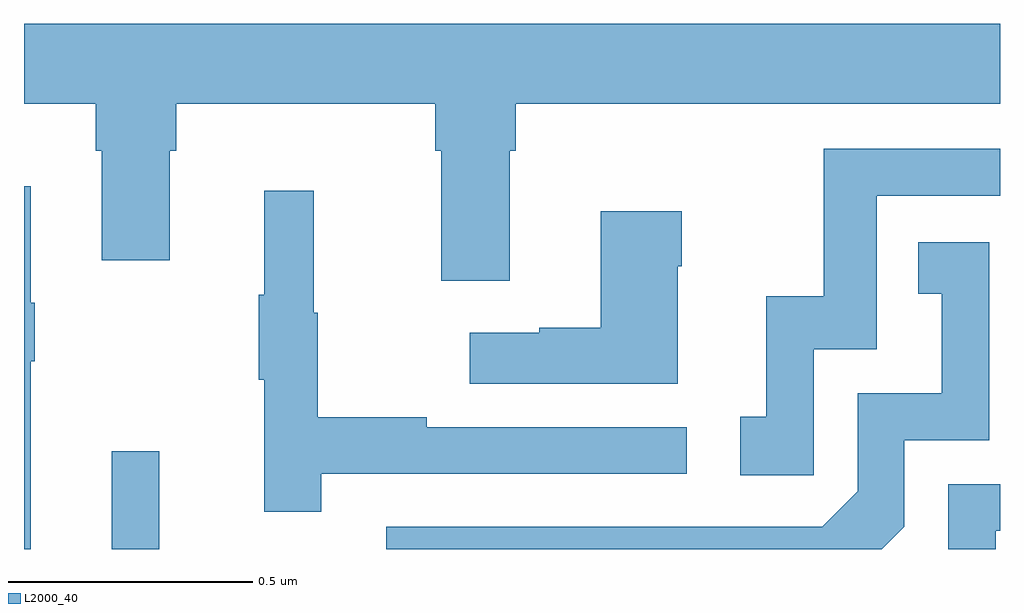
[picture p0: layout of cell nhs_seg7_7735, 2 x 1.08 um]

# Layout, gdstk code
import gdstk
lib = gdstk.Library(unit=1e-6, precision=1e-09)
def R(c, l, rs):  # rectangles x0, y0, x1, y1
    for r in rs: c.add(gdstk.rectangle(r[:2], r[2:], *l))
def P(c, l, *ps):  # polygons
    for p in ps: c.add(gdstk.Polygon(p, *l))
L2000_40 = (2000, 40)

nhs_seg7_7735 = lib.new_cell('nhs_seg7_7735')
R(nhs_seg7_7735, L2000_40, [(215.18,1037,215.277,1037.2)])
P(nhs_seg7_7735, L2000_40, [(215.995,1037.816),(216.008,1037.816),(216.008,1037.912),(217,1037.912),(217,1038.076),(215,1038.076),(215,1037.912),(215.147,1037.912),(215.147,1037.816),(215.159,1037.816),(215.159,1037.592),(215.299,1037.592),(215.299,1037.816),(215.312,1037.816),(215.312,1037.912),(215.843,1037.912),(215.843,1037.816),(215.855,1037.816),(215.855,1037.55),(215.995,1037.55)],
  [(216.618,1037.409),(216.747,1037.409),(216.747,1037.724),(217,1037.724),(217,1037.82),(216.639,1037.82),(216.639,1037.518),(216.521,1037.518),(216.521,1037.271),(216.468,1037.271),(216.468,1037.151),(216.618,1037.151)],
  [(215.014,1037.385),(215.022,1037.385),(215.022,1037.505),(215.014,1037.505),(215.014,1037.743),(215,1037.743),(215,1037),(215.014,1037)],
  [(215.609,1037.154),(216.358,1037.154),(216.358,1037.25),(215.825,1037.25),(215.825,1037.27),(215.602,1037.27),(215.602,1037.484),(215.594,1037.484),(215.594,1037.734),(215.492,1037.734),(215.492,1037.521),(215.481,1037.521),(215.481,1037.347),(215.492,1037.347),(215.492,1037.076),(215.609,1037.076)],
  [(216.34,1037.579),(216.348,1037.579),(216.348,1037.692),(216.182,1037.692),(216.182,1037.453),(216.056,1037.453),(216.056,1037.443),(215.913,1037.443),(215.913,1037.339),(216.34,1037.339)],
  [(216.804,1037.046),(216.804,1037.223),(216.978,1037.223),(216.978,1037.629),(216.832,1037.629),(216.832,1037.523),(216.881,1037.523),(216.881,1037.319),(216.708,1037.319),(216.708,1037.118),(216.636,1037.046),(215.742,1037.046),(215.742,1037),(216.758,1037)],
  [(216.991,1037.037),(217,1037.037),(217,1037.133),(216.894,1037.133),(216.894,1037),(216.991,1037)])

lib.write_gds('nhs_seg7_7735.gds')
